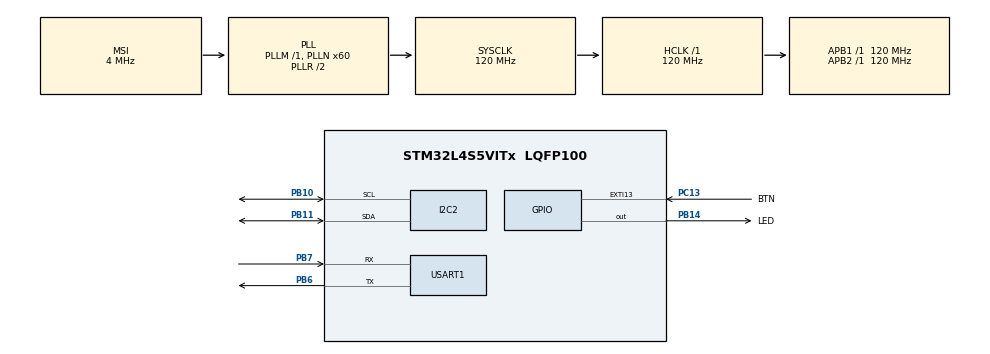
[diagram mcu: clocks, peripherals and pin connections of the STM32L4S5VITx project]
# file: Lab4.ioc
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I2C2.Timing=0x30A175AB
Mcu.Family=STM32L4
Mcu.Name=STM32L4S5VITx
Mcu.Package=LQFP100
NVIC.EXTI15_10_IRQn=true\:0\:0\:false\:false\:true\:true\:true\:true
NVIC.PriorityGroup=NVIC_PRIORITYGROUP_4
NVIC.TIM2_IRQn=true\:0\:0\:false\:false\:true\:true\:true\:true
PB10.Mode=I2C
PB10.Signal=I2C2_SCL
PB11.Mode=I2C
PB11.Signal=I2C2_SDA
PB14.GPIO_Label=LED
PB14.Signal=GPIO_Output
PB6.Mode=Asynchronous
PB6.Signal=USART1_TX
PB7.Mode=Asynchronous
PB7.Signal=USART1_RX
PC13.GPIO_Label=BTN
PC13.Signal=GPXTI13
ProjectManager.HeapSize=0x200
ProjectManager.StackSize=0x400
ProjectManager.TargetToolchain=STM32CubeIDE
RCC.ADCFreq_Value=48000000
RCC.AHBFreq_Value=120000000
RCC.APB1Freq_Value=120000000
RCC.APB1TimFreq_Value=120000000
RCC.APB2Freq_Value=120000000
RCC.APB2TimFreq_Value=120000000
RCC.CortexFreq_Value=120000000
RCC.HCLKFreq_Value=120000000
RCC.HSE_VALUE=8000000
RCC.HSI48_VALUE=48000000
RCC.HSI_VALUE=16000000
RCC.LSE_VALUE=32768
RCC.MSI_VALUE=4000000
RCC.PLLN=60
RCC.PLLSAI1N=24
RCC.SYSCLKFreq_VALUE=120000000
RCC.SYSCLKSource=RCC_SYSCLKSOURCE_PLLCLK
RCC.USBFreq_Value=48000000
RCC.VCOOutputFreq_Value=240000000
TIM2.Period=12000000
USART1.VirtualMode-Asynchronous=VM_ASYNC
VP_TIM2_VS_ClockSourceINT.Mode=Internal
board=B-L4S5I-IOT01A

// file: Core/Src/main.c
/* USER CODE BEGIN Header */
/**
  ******************************************************************************
  * @file           : main.c
  * @brief          : Main program body
  ******************************************************************************
  * @attention
  *
  * Copyright (c) 2025 STMicroelectronics.
  * All rights reserved.
  *
  * This software is licensed under terms that can be found in the LICENSE file
  * in the root directory of this software component.
  * If no LICENSE file comes with this software, it is provided AS-IS.
  *
  ******************************************************************************
  */
/* USER CODE END Header */
#include "main.h"

/* USER CODE BEGIN Includes */
#include "stm32l4s5i_iot01_hsensor.h"
#include "stm32l4s5i_iot01_magneto.h"
#include "stm32l4s5i_iot01_psensor.h"
#include "stm32l4s5i_iot01_accelero.h"
#include <stdio.h>
#include <string.h>
/* USER CODE END Includes */

/* USER CODE BEGIN PD */
#define ERRNO 1

/* USER CODE END PD */

I2C_HandleTypeDef hi2c2;

TIM_HandleTypeDef htim2;

UART_HandleTypeDef huart1;

/* USER CODE BEGIN PV */
char buffer[100];
int16_t magnetoXYZ[3];
int16_t acceleroXYZ[3];
uint8_t sensorIndex = 0;

/* USER CODE END PV */

void SystemClock_Config(void);
static void MX_GPIO_Init(void);
static void MX_I2C2_Init(void);
static void MX_USART1_UART_Init(void);
static void MX_TIM2_Init(void);

/* USER CODE BEGIN 0 */
void HAL_TIM_PeriodElapsedCallback(TIM_HandleTypeDef *htim) {
	if (htim != &htim2) {
		__NOP();
	}

	switch (sensorIndex) {
	case 0:
		sprintf(buffer, "humidity: %.2f\r\n", BSP_HSENSOR_ReadHumidity());
		break;

	case 1:
		BSP_MAGNETO_GetXYZ(magnetoXYZ);
		sprintf(buffer, "magnetometer: X:%d, Y:%d, Z:%d\r\n", magnetoXYZ[0], magnetoXYZ[1], magnetoXYZ[2]);
		break;

	case 2:
		sprintf(buffer, "pressure: %.2f\r\n", BSP_PSENSOR_ReadPressure());
		break;

	case 3:
		BSP_ACCELERO_AccGetXYZ(acceleroXYZ);
		sprintf(buffer, "accelerometer: X:%d, Y:%d, Z:%d\r\n", acceleroXYZ[0], acceleroXYZ[1], acceleroXYZ[2]);
		break;
	}

	HAL_UART_Transmit(&huart1, (uint8_t*)buffer, strlen(buffer), 100);
}

void HAL_GPIO_EXTI_Callback(uint16_t GPIO_Pin) {
	if (GPIO_Pin != BTN_Pin) {
		__NOP();
	}

	sensorIndex = (sensorIndex + 1) % 4;
}

/* USER CODE END 0 */

int main(void)
{

  /* MCU Configuration--------------------------------------------------------*/

  /* Reset of all peripherals, Initializes the Flash interface and the Systick. */
  HAL_Init();

  /* Configure the system clock */
  SystemClock_Config();

  /* Initialize all configured peripherals */
  MX_GPIO_Init();
  MX_I2C2_Init();
  MX_USART1_UART_Init();
  MX_TIM2_Init();
  /* USER CODE BEGIN 2 */
  if (BSP_HSENSOR_Init() != 0) {
	  return ERRNO;
  }

  if (BSP_MAGNETO_Init() != 0) {
	  return ERRNO;
  }

  if (BSP_PSENSOR_Init() != 0) {
	  return ERRNO;
  }

  if (BSP_ACCELERO_Init() != 0) {
	  return ERRNO;
  }

  HAL_TIM_Base_Start_IT(&htim2);
  /* USER CODE END 2 */

  /* Infinite loop */
  while (1)
  {

  }
}

void SystemClock_Config(void)
{
  RCC_OscInitTypeDef RCC_OscInitStruct = {0};
  RCC_ClkInitTypeDef RCC_ClkInitStruct = {0};

  /** Configure the main internal regulator output voltage
  */
  if (HAL_PWREx_ControlVoltageScaling(PWR_REGULATOR_VOLTAGE_SCALE1_BOOST) != HAL_OK)
  {
    Error_Handler();
  }

  /** Initializes the RCC Oscillators according to the specified parameters
  * in the RCC_OscInitTypeDef structure.
  */
  RCC_OscInitStruct.OscillatorType = RCC_OSCILLATORTYPE_MSI;
  RCC_OscInitStruct.MSIState = RCC_MSI_ON;
  RCC_OscInitStruct.MSICalibrationValue = 0;
  RCC_OscInitStruct.MSIClockRange = RCC_MSIRANGE_6;
  RCC_OscInitStruct.PLL.PLLState = RCC_PLL_ON;
  RCC_OscInitStruct.PLL.PLLSource = RCC_PLLSOURCE_MSI;
  RCC_OscInitStruct.PLL.PLLM = 1;
  RCC_OscInitStruct.PLL.PLLN = 60;
  RCC_OscInitStruct.PLL.PLLP = RCC_PLLP_DIV2;
  RCC_OscInitStruct.PLL.PLLQ = RCC_PLLQ_DIV2;
  RCC_OscInitStruct.PLL.PLLR = RCC_PLLR_DIV2;
  if (HAL_RCC_OscConfig(&RCC_OscInitStruct) != HAL_OK)
  {
    Error_Handler();
  }

  /** Initializes the CPU, AHB and APB buses clocks
  */
  RCC_ClkInitStruct.ClockType = RCC_CLOCKTYPE_HCLK|RCC_CLOCKTYPE_SYSCLK
                              |RCC_CLOCKTYPE_PCLK1|RCC_CLOCKTYPE_PCLK2;
  RCC_ClkInitStruct.SYSCLKSource = RCC_SYSCLKSOURCE_PLLCLK;
  RCC_ClkInitStruct.AHBCLKDivider = RCC_SYSCLK_DIV1;
  RCC_ClkInitStruct.APB1CLKDivider = RCC_HCLK_DIV1;
  RCC_ClkInitStruct.APB2CLKDivider = RCC_HCLK_DIV1;

  if (HAL_RCC_ClockConfig(&RCC_ClkInitStruct, FLASH_LATENCY_5) != HAL_OK)
  {
    Error_Handler();
  }
}

static void MX_I2C2_Init(void)
{

  hi2c2.Instance = I2C2;
  hi2c2.Init.Timing = 0x30A175AB;
  hi2c2.Init.OwnAddress1 = 0;
  hi2c2.Init.AddressingMode = I2C_ADDRESSINGMODE_7BIT;
  hi2c2.Init.DualAddressMode = I2C_DUALADDRESS_DISABLE;
  hi2c2.Init.OwnAddress2 = 0;
  hi2c2.Init.OwnAddress2Masks = I2C_OA2_NOMASK;
  hi2c2.Init.GeneralCallMode = I2C_GENERALCALL_DISABLE;
  hi2c2.Init.NoStretchMode = I2C_NOSTRETCH_DISABLE;
  if (HAL_I2C_Init(&hi2c2) != HAL_OK)
  {
    Error_Handler();
  }

  /** Configure Analogue filter
  */
  if (HAL_I2CEx_ConfigAnalogFilter(&hi2c2, I2C_ANALOGFILTER_ENABLE) != HAL_OK)
  {
    Error_Handler();
  }

  /** Configure Digital filter
  */
  if (HAL_I2CEx_ConfigDigitalFilter(&hi2c2, 0) != HAL_OK)
  {
    Error_Handler();
  }

}

static void MX_TIM2_Init(void)
{

  TIM_ClockConfigTypeDef sClockSourceConfig = {0};
  TIM_MasterConfigTypeDef sMasterConfig = {0};

  htim2.Instance = TIM2;
  htim2.Init.Prescaler = 0;
  htim2.Init.CounterMode = TIM_COUNTERMODE_UP;
  htim2.Init.Period = 12000000;
  htim2.Init.ClockDivision = TIM_CLOCKDIVISION_DIV1;
  htim2.Init.AutoReloadPreload = TIM_AUTORELOAD_PRELOAD_DISABLE;
  if (HAL_TIM_Base_Init(&htim2) != HAL_OK)
  {
    Error_Handler();
  }
  sClockSourceConfig.ClockSource = TIM_CLOCKSOURCE_INTERNAL;
  if (HAL_TIM_ConfigClockSource(&htim2, &sClockSourceConfig) != HAL_OK)
  {
    Error_Handler();
  }
  sMasterConfig.MasterOutputTrigger = TIM_TRGO_RESET;
  sMasterConfig.MasterSlaveMode = TIM_MASTERSLAVEMODE_DISABLE;
  if (HAL_TIMEx_MasterConfigSynchronization(&htim2, &sMasterConfig) != HAL_OK)
  {
    Error_Handler();
  }

}

static void MX_USART1_UART_Init(void)
{

  huart1.Instance = USART1;
  huart1.Init.BaudRate = 115200;
  huart1.Init.WordLength = UART_WORDLENGTH_8B;
  huart1.Init.StopBits = UART_STOPBITS_1;
  huart1.Init.Parity = UART_PARITY_NONE;
  huart1.Init.Mode = UART_MODE_TX_RX;
  huart1.Init.HwFlowCtl = UART_HWCONTROL_NONE;
  huart1.Init.OverSampling = UART_OVERSAMPLING_16;
  huart1.Init.OneBitSampling = UART_ONE_BIT_SAMPLE_DISABLE;
  huart1.Init.ClockPrescaler = UART_PRESCALER_DIV1;
  huart1.AdvancedInit.AdvFeatureInit = UART_ADVFEATURE_NO_INIT;
  if (HAL_UART_Init(&huart1) != HAL_OK)
  {
    Error_Handler();
  }
  if (HAL_UARTEx_SetTxFifoThreshold(&huart1, UART_TXFIFO_THRESHOLD_1_8) != HAL_OK)
  {
    Error_Handler();
  }
  if (HAL_UARTEx_SetRxFifoThreshold(&huart1, UART_RXFIFO_THRESHOLD_1_8) != HAL_OK)
  {
    Error_Handler();
  }
  if (HAL_UARTEx_DisableFifoMode(&huart1) != HAL_OK)
  {
    Error_Handler();
  }

}

static void MX_GPIO_Init(void)
{
  GPIO_InitTypeDef GPIO_InitStruct = {0};

  /* GPIO Ports Clock Enable */
  __HAL_RCC_GPIOC_CLK_ENABLE();
  __HAL_RCC_GPIOB_CLK_ENABLE();

  /*Configure GPIO pin Output Level */
  HAL_GPIO_WritePin(LED_GPIO_Port, LED_Pin, GPIO_PIN_RESET);

  /*Configure GPIO pin : BTN_Pin */
  GPIO_InitStruct.Pin = BTN_Pin;
  GPIO_InitStruct.Mode = GPIO_MODE_IT_RISING;
  GPIO_InitStruct.Pull = GPIO_NOPULL;
  HAL_GPIO_Init(BTN_GPIO_Port, &GPIO_InitStruct);

  /*Configure GPIO pin : LED_Pin */
  GPIO_InitStruct.Pin = LED_Pin;
  GPIO_InitStruct.Mode = GPIO_MODE_OUTPUT_PP;
  GPIO_InitStruct.Pull = GPIO_NOPULL;
  GPIO_InitStruct.Speed = GPIO_SPEED_FREQ_LOW;
  HAL_GPIO_Init(LED_GPIO_Port, &GPIO_InitStruct);

  /* EXTI interrupt init*/
  HAL_NVIC_SetPriority(EXTI15_10_IRQn, 0, 0);
  HAL_NVIC_EnableIRQ(EXTI15_10_IRQn);

}

void Error_Handler(void)
{
  __disable_irq();
  while (1)
  {
  }
}
